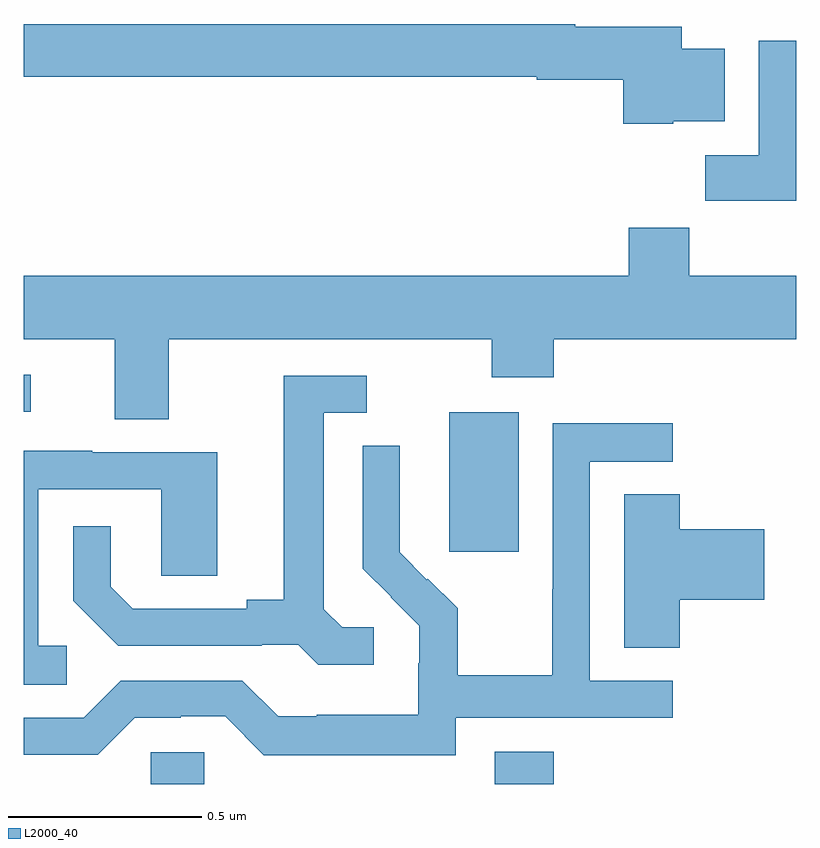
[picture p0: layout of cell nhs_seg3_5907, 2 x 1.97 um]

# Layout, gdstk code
import gdstk
lib = gdstk.Library(unit=1e-6, precision=1e-09)
def R(c, l, rs):  # rectangles x0, y0, x1, y1
    for r in rs: c.add(gdstk.rectangle(r[:2], r[2:], *l))
def P(c, l, *ps):  # polygons
    for p in ps: c.add(gdstk.Polygon(p, *l))
L2000_40 = (2000, 40)

nhs_seg3_5907 = lib.new_cell('nhs_seg3_5907')
R(nhs_seg3_5907, L2000_40, [(184.329,730.4,184.467,730.482), (185.219,730.4,185.372,730.483), (185.102,731.001,185.281,731.362), (184,731.364,184.018,731.46)])
P(nhs_seg3_5907, L2000_40, [(185.682,732.116),(185.815,732.116),(185.815,732.304),(185.704,732.304),(185.704,732.361),(185.428,732.361),(185.428,732.368),(184,732.368),(184,732.232),(185.328,732.232),(185.328,732.224),(185.552,732.224),(185.552,732.11),(185.682,732.11)],
  [(186,732.325),(185.903,732.325),(185.903,732.028),(185.764,732.028),(185.764,731.91),(186,731.91)],
  [(184.375,731.552),(185.212,731.552),(185.212,731.453),(185.372,731.453),(185.372,731.552),(186,731.552),(186,731.716),(185.723,731.716),(185.723,731.84),(185.567,731.84),(185.567,731.716),(184,731.716),(184,731.552),(184.235,731.552),(184.235,731.344),(184.375,731.344)],
  [(184.906,730.806),(184.824,730.806),(184.777,730.853),(184.777,731.361),(184.888,731.361),(184.888,731.457),(184.673,731.457),(184.673,730.877),(184.577,730.877),(184.577,730.854),(184.282,730.854),(184.225,730.911),(184.225,731.068),(184.128,731.068),(184.128,730.874),(184.244,730.758),(184.616,730.758),(184.616,730.761),(184.71,730.761),(184.762,730.709),(184.906,730.709)],
  [(185.118,730.572),(185.68,730.572),(185.68,730.668),(185.466,730.668),(185.466,731.235),(185.68,731.235),(185.68,731.334),(185.37,731.334),(185.37,730.904),(185.368,730.904),(185.368,730.681),(185.123,730.681),(185.123,730.855),(185.046,730.932),(185.043,730.929),(184.973,731),(184.973,731.122),(184.974,731.122),(184.974,731.276),(184.878,731.276),(184.878,730.958),(184.951,730.885),(184.95,730.884),(185.024,730.81),(185.024,730.713),(185.022,730.713),(185.022,730.579),(184.759,730.579),(184.759,730.575),(184.659,730.575),(184.566,730.668),(184.251,730.668),(184.155,730.572),(184,730.572),(184,730.476),(184.191,730.476),(184.287,730.572),(184.406,730.572),(184.406,730.575),(184.521,730.575),(184.621,730.475),(185.118,730.475)],
  [(184.111,730.758),(184.038,730.758),(184.038,731.163),(184.356,731.163),(184.356,730.939),(184.501,730.939),(184.501,731.259),(184.177,731.259),(184.177,731.263),(184,731.263),(184,730.657),(184.111,730.657)],
  [(185.699,730.877),(185.917,730.877),(185.917,731.06),(185.699,731.06),(185.699,731.15),(185.555,731.15),(185.555,730.753),(185.699,730.753)])

lib.write_gds('nhs_seg3_5907.gds')
